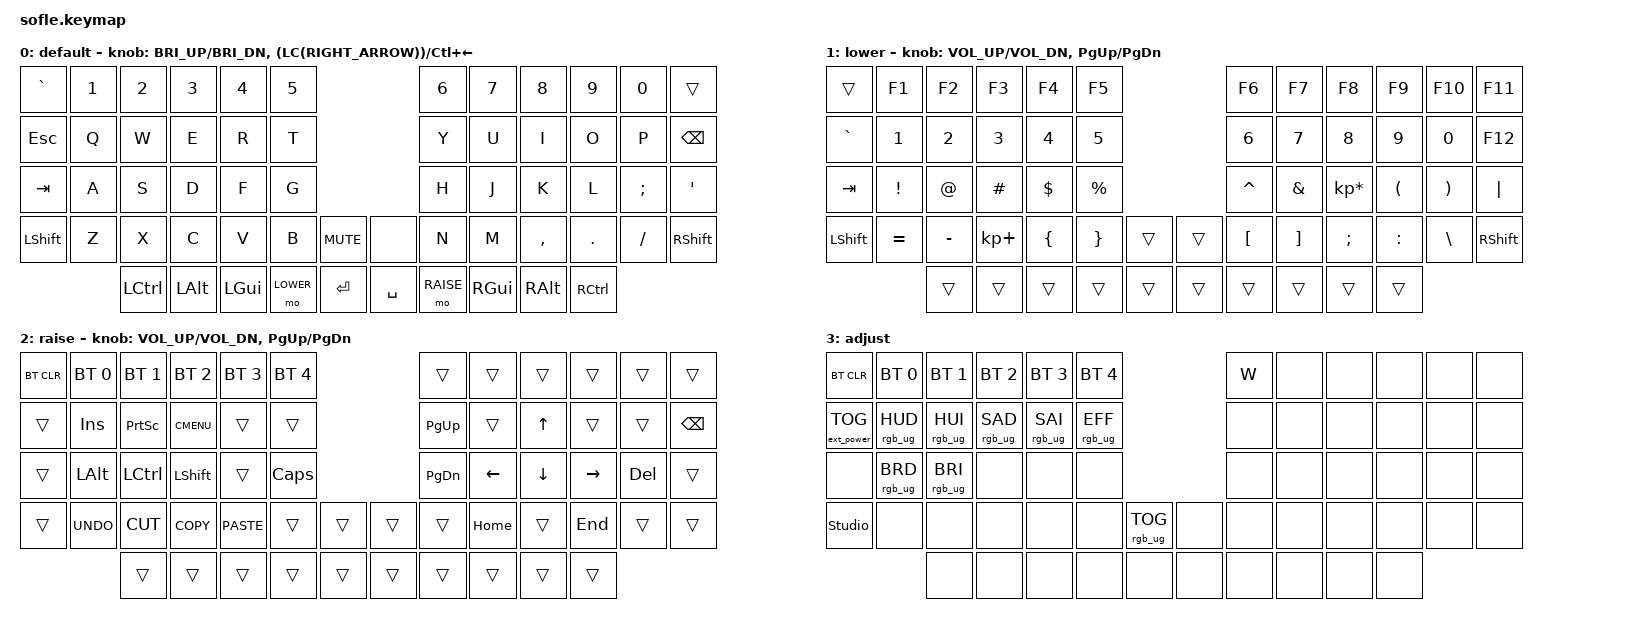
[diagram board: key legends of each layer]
/*
 * Copyright (c) 2020 The ZMK Contributors
 *
 * SPDX-License-Identifier: MIT
 */

#include <behaviors.dtsi>
#include <dt-bindings/zmk/bt.h>
#include <dt-bindings/zmk/ext_power.h>
#include <dt-bindings/zmk/keys.h>
#include <dt-bindings/zmk/rgb.h>

#define BASE 0
#define LOWER 1
#define RAISE 2
#define ADJUST 3

/ {
    // Activate ADJUST layer by pressing raise and lower

    conditional_layers {
        compatible = "zmk,conditional-layers";

        adjust_layer {
            if-layers = <LOWER RAISE>;
            then-layer = <ADJUST>;
        };
    };

    keymap {
        compatible = "zmk,keymap";

        default_layer {
            label = "default";

            // ------------------------------------------------------------------------------------------------------------
            // |   `   |  1  |  2  |  3   |  4   |  5   |                   |  6   |  7    |  8    |  9   |   0   |       |
            // |  ESC  |  Q  |  W  |  E   |  R   |  T   |                   |  Y   |  U    |  I    |  O   |   P   | BKSPC |
            // |  TAB  |  A  |  S  |  D   |  F   |  G   |                   |  H   |  J    |  K    |  L   |   ;   |   '   |
            // | SHIFT |  Z  |  X  |  C   |  V   |  B   |  MUTE  |  |       |  N   |  M    |  ,    |  .   |   /   | SHIFT |
            //               | GUI | ALT  | CTRL | LOWER|  ENTER |  | SPACE | RAISE| CTRL  | ALT   | GUI  |

            bindings = <
&kp GRAVE       &kp N1  &kp N2            &kp N3    &kp N4        &kp N5                              &kp N6     &kp N7         &kp N8         &kp N9             &kp N0    &trans
&kp ESC         &kp Q   &kp W             &kp E     &kp R         &kp T                               &kp Y      &kp U          &kp I          &kp O              &kp P     &kp BACKSPACE
&kp TAB         &kp A   &kp S             &kp D     &kp F         &kp G                               &kp H      &kp J          &kp K          &kp L              &kp SEMI  &kp SQT
&kp LEFT_SHIFT  &kp Z   &kp X             &kp C     &kp V         &kp B      &kp C_MUTE    &none      &kp N      &kp M          &kp COMMA      &kp DOT            &kp FSLH  &kp RSHFT
                        &kp LEFT_CONTROL  &kp LALT  &kp LEFT_GUI  &mo LOWER  &kp RETURN    &kp SPACE  &mo RAISE  &kp RIGHT_GUI  &kp RIGHT_ALT  &kp RIGHT_CONTROL
            >;

            sensor-bindings =
                <&inc_dec_kp C_BRI_UP C_BRI_DN>,
                <&inc_dec_kp (LC(RIGHT_ARROW)) LC(LEFT_ARROW)>;
        };

        lower_layer {
            label = "lower";

            // TODO: Some binds are waiting for shifted keycode support.
            // ------------------------------------------------------------------------------------------------------------
            // |       |  F1 |  F2 |  F3  |  F4  |  F5  |                   |  F6  |  F7   |  F8   |  F9  |  F10  |  F11  |
            // |   `   |  1  |  2  |  3   |  4   |  5   |                   |  6   |  7    |  8    |  9   |   0   |  F12  |
            // |       |  !  |  @  |  #   |  $   |  %   |                   |  ^   |  &    |  *    |  (   |   )   |   |   |
            // |       |  =  |  -  |  +   |  {   |  }   |        |  |       |  [   |  ]    |  ;    |  :   |   \   |       |
            //               |     |      |      |      |        |  |       |      |       |       |      |

            bindings = <
&trans          &kp F1     &kp F2     &kp F3       &kp F4    &kp F5                       &kp F6     &kp F7    &kp F8           &kp F9     &kp F10   &kp F11
&kp GRAVE       &kp N1     &kp N2     &kp N3       &kp N4    &kp N5                       &kp N6     &kp N7    &kp N8           &kp N9     &kp N0    &kp F12
&kp TAB         &kp EXCL   &kp AT     &kp HASH     &kp DLLR  &kp PRCNT                    &kp CARET  &kp AMPS  &kp KP_MULTIPLY  &kp LPAR   &kp RPAR  &kp PIPE
&kp LEFT_SHIFT  &kp EQUAL  &kp MINUS  &kp KP_PLUS  &kp LBRC  &kp RBRC   &trans    &trans  &kp LBKT   &kp RBKT  &kp SEMI         &kp COLON  &kp BSLH  &kp RIGHT_SHIFT
                           &trans     &trans       &trans    &trans     &trans    &trans  &trans     &trans    &trans           &trans
            >;

            sensor-bindings = <&inc_dec_kp C_VOL_UP C_VOL_DN &inc_dec_kp PG_UP PG_DN>;
        };

        raise_layer {
            label = "raise";

            // ------------------------------------------------------------------------------------------------------------
            // | BTCLR | BT1  | BT2  |  BT3  |  BT4  |  BT5 |                |      |      |       |      |       |       |
            // |       | INS  | PSCR | GUI   |       |      |                | PGUP |      |   ^   |      |       |       |
            // |       | ALT  | CTRL | SHIFT |       | CAPS |                | PGDN |   <- |   v   |  ->  |  DEL  | BKSPC |
            // |       | UNDO | CUT  | COPY  | PASTE |      |      |  |      |      |      |       |      |       |       |
            //                |      |       |       |      |      |  |      |      |      |       |      |

            bindings = <
&bt BT_CLR  &bt BT_SEL 0  &bt BT_SEL 1  &bt BT_SEL 2  &bt BT_SEL 3  &bt BT_SEL 4                    &trans     &trans    &trans    &trans     &trans   &trans
&trans      &kp INS       &kp PSCRN     &kp K_CMENU   &trans        &trans                          &kp PG_UP  &trans    &kp UP    &trans     &trans   &kp BACKSPACE
&trans      &kp LALT      &kp LCTRL     &kp LSHFT     &trans        &kp CLCK                        &kp PG_DN  &kp LEFT  &kp DOWN  &kp RIGHT  &kp DEL  &trans
&trans      &kp K_UNDO    &kp K_CUT     &kp K_COPY    &kp K_PASTE   &trans        &trans    &trans  &trans     &kp HOME  &trans    &kp END    &trans   &trans
                          &trans        &trans        &trans        &trans        &trans    &trans  &trans     &trans    &trans    &trans
            >;

            sensor-bindings = <&inc_dec_kp C_VOL_UP C_VOL_DN &inc_dec_kp PG_UP PG_DN>;
        };

        adjust_layer {
            // ----------------------------------------------------------------------------------------------------------------------------
            // | BTCLR  |  BT1    |  BT2    |   BT3   |   BT4   |   BT5   |                  |      |      |       |      |       |       |
            // | EXTPWR | RGB_HUD | RGB_HUI | RGB_SAD | RGB_SAI | RGB_EFF |                  |      |      |       |      |       |       |
            // |        | RGB_BRD | RGB_BRI |         |         |         |                  |      |      |       |      |       |       |
            // |        |         |         |         |         |         | RGB_TOG | |      |      |      |       |      |       |       |
            //                    |         |         |         |         |         | |      |      |      |       |      |

            label = "adjust";
            bindings = <
&bt BT_CLR         &bt BT_SEL 0     &bt BT_SEL 1     &bt BT_SEL 2     &bt BT_SEL 3     &bt BT_SEL 4                               &kp W  &none  &none  &none  &none  &none
&ext_power EP_TOG  &rgb_ug RGB_HUD  &rgb_ug RGB_HUI  &rgb_ug RGB_SAD  &rgb_ug RGB_SAI  &rgb_ug RGB_EFF                            &none  &none  &none  &none  &none  &none
&none              &rgb_ug RGB_BRD  &rgb_ug RGB_BRI  &none            &none            &none                                      &none  &none  &none  &none  &none  &none
&studio_unlock     &none            &none            &none            &none            &none            &rgb_ug RGB_TOG    &none  &none  &none  &none  &none  &none  &none
                                    &none            &none            &none            &none            &none              &none  &none  &none  &none  &none
            >;
        };
    };
};
